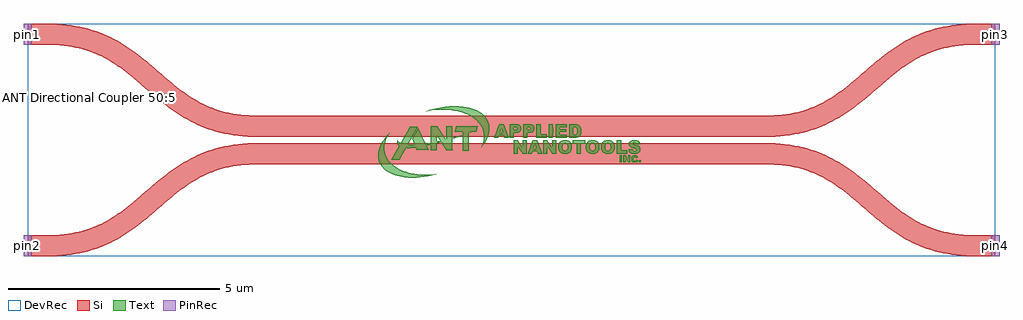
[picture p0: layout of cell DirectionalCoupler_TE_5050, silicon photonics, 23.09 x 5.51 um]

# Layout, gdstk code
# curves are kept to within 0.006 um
import gdstk
lib = gdstk.Library(unit=1e-6, precision=1e-09)
def R(c, l, rs):  # rectangles x0, y0, x1, y1
    for r in rs: c.add(gdstk.rectangle(r[:2], r[2:], *l))
def P(c, l, *ps):  # polygons
    for p in ps: c.add(gdstk.Polygon(p, *l))
Si = (1, 0)
PinRec = (1, 10)
Text = (10, 0)
DevRec = (68, 0)

directionalcoupler_te_50 = lib.new_cell('DirectionalCoupler_TE_5050')
P(directionalcoupler_te_50, Si, [(-11.45,-2.755),(-11.45,-2.255),(-10.895,-2.254),(-10.497,-2.22),(-10.15,-2.147),(-9.843,-2.041),(-9.568,-1.907),(-9.254,-1.706),(-9.016,-1.524),(-8.429,-1.021),(-8.177,-0.817),(-7.832,-0.575),(-7.603,-0.444),(-7.268,-0.293),(-7.085,-0.229),(-6.892,-0.176),(-6.582,-0.115),(-6.36,-0.09),(-6.125,-0.077),(6,-0.075),(6.238,-0.082),(6.466,-0.101),(6.786,-0.153),(6.984,-0.201),(7.172,-0.26),(7.517,-0.403),(7.752,-0.53),(8.038,-0.717),(8.235,-0.867),(8.952,-1.476),(9.187,-1.662),(9.37,-1.79),(9.562,-1.907),(9.837,-2.041),(10.144,-2.147),(10.491,-2.22),(10.889,-2.254),(11.444,-2.255),(11.444,-2.755),(10.875,-2.753),(10.528,-2.729),(10.208,-2.677),(9.915,-2.601),(9.732,-2.537),(9.477,-2.427),(9.242,-2.3),(9.025,-2.161),(8.695,-1.912),(7.866,-1.213),(7.624,-1.04),(7.432,-0.923),(7.157,-0.789),(6.85,-0.683),(6.594,-0.625),(6.311,-0.588),(5.994,-0.575),(-6.111,-0.576),(-6.509,-0.61),(-6.774,-0.662),(-7.089,-0.76),(-7.372,-0.887),(-7.63,-1.04),(-7.872,-1.213),(-8.639,-1.861),(-8.962,-2.113),(-9.325,-2.344),(-9.651,-2.502),(-9.828,-2.57),(-10.016,-2.629),(-10.214,-2.677),(-10.424,-2.715),(-10.646,-2.74),(-10.881,-2.753)],
  [(-6.006,0.075),(-6.244,0.082),(-6.472,0.101),(-6.792,0.153),(-6.99,0.201),(-7.178,0.26),(-7.523,0.403),(-7.832,0.575),(-8.111,0.767),(-8.367,0.969),(-9.016,1.524),(-9.254,1.706),(-9.568,1.907),(-9.843,2.041),(-10.15,2.147),(-10.497,2.22),(-10.895,2.254),(-11.45,2.255),(-11.45,2.755),(-10.881,2.753),(-10.646,2.74),(-10.424,2.715),(-10.214,2.677),(-10.016,2.629),(-9.738,2.537),(-9.483,2.427),(-9.325,2.344),(-8.962,2.113),(-8.639,1.861),(-7.872,1.213),(-7.63,1.04),(-7.372,0.887),(-7.163,0.789),(-7.014,0.732),(-6.689,0.642),(-6.317,0.588),(-6,0.575),(5.994,0.575),(6.409,0.598),(6.683,0.642),(7.008,0.732),(7.228,0.82),(7.497,0.961),(7.685,1.081),(7.925,1.259),(8.633,1.861),(8.956,2.113),(9.319,2.344),(9.645,2.502),(9.822,2.57),(10.01,2.629),(10.208,2.677),(10.418,2.715),(10.64,2.74),(10.875,2.753),(11.444,2.755),(11.444,2.255),(10.889,2.254),(10.491,2.22),(10.144,2.147),(9.986,2.098),(9.766,2.01),(9.628,1.943),(9.433,1.831),(9.187,1.662),(8.952,1.476),(8.235,0.867),(8.038,0.717),(7.752,0.53),(7.517,0.403),(7.172,0.26),(6.886,0.176),(6.576,0.115),(6.354,0.09),(6.077,0.075)])
R(directionalcoupler_te_50, Text, [(3.013,-0.53,3.061,-0.483)])
P(directionalcoupler_te_50, Text, [(-0.718,-0.177),(-0.676,-0.07),(-0.658,0.013),(-0.654,0.117),(-0.67,0.209),(-0.712,0.314),(-0.779,0.411),(-0.849,0.481),(-0.943,0.549),(-1.045,0.605),(-1.175,0.655),(-1.414,0.708),(-1.698,0.72),(-1.901,0.7),(-2.047,0.674),(-1.815,0.741),(-1.696,0.765),(-1.468,0.794),(-1.305,0.798),(-1.142,0.787),(-0.998,0.76),(-0.86,0.715),(-0.749,0.659),(-0.652,0.582),(-0.584,0.496),(-0.536,0.381),(-0.524,0.299),(-0.536,0.166),(-0.566,0.07),(-0.638,-0.069)],
  [(-0.413,0.058),(-0.327,0.288),(-0.244,0.288),(-0.278,0.177),(-0.21,0.177),(-0.244,0.288),(-0.327,0.288),(-0.296,0.37),(-0.191,0.37),(-0.073,0.058),(-0.174,0.058),(-0.189,0.109),(-0.299,0.109),(-0.314,0.058)],
  [(0.587,0.058),(0.587,0.37),(0.684,0.37),(0.684,0.136),(0.834,0.136),(0.834,0.058)],
  [(0.881,0.058),(0.881,0.37),(0.978,0.37),(0.979,0.214),(0.978,0.058)],
  [(1.047,0.058),(1.047,0.37),(1.306,0.37),(1.305,0.302),(1.145,0.303),(1.144,0.254),(1.294,0.254),(1.294,0.19),(1.144,0.19),(1.144,0.129),(1.31,0.129),(1.31,0.058)],
  [(1.363,0.058),(1.363,0.3),(1.46,0.3),(1.46,0.129),(1.531,0.138),(1.547,0.158),(1.554,0.192),(1.55,0.258),(1.535,0.285),(1.486,0.3),(1.363,0.3),(1.363,0.37),(1.537,0.369),(1.606,0.34),(1.635,0.3),(1.65,0.244),(1.648,0.169),(1.621,0.105),(1.591,0.078),(1.546,0.062)],
  [(-0.042,0.058),(-0.042,0.306),(0.082,0.306),(0.054,0.306),(0.054,0.237),(0.106,0.24),(0.129,0.263),(0.123,0.293),(0.1,0.305),(-0.042,0.306),(-0.042,0.37),(0.132,0.37),(0.188,0.353),(0.209,0.331),(0.223,0.284),(0.218,0.238),(0.201,0.206),(0.158,0.179),(0.055,0.173),(0.055,0.058)],
  [(0.272,0.058),(0.272,0.306),(0.397,0.306),(0.369,0.306),(0.369,0.237),(0.426,0.242),(0.444,0.264),(0.44,0.289),(0.42,0.304),(0.272,0.306),(0.272,0.37),(0.457,0.369),(0.51,0.347),(0.529,0.321),(0.538,0.28),(0.535,0.245),(0.516,0.206),(0.46,0.176),(0.369,0.173),(0.369,0.058)],
  [(-2.843,-0.472),(-2.66,-0.138),(-2.69,-0.106),(-2.705,-0.071),(-2.701,0),(-2.679,-0.034),(-2.626,-0.075),(-2.415,0.308),(-2.224,0.308),(-2.456,-0.114),(-2.376,-0.117),(-2.296,-0.114),(-2.349,0.027),(-2.208,0.28),(-2.036,-0.083),(-1.913,-0.062),(-1.913,0.106),(-1.767,0.106),(-1.767,-0.033),(-1.688,-0.015),(-1.767,0.106),(-1.913,0.106),(-1.913,0.329),(-1.764,0.329),(-1.562,0.015),(-1.547,0.019),(-1.547,0.329),(-1.401,0.329),(-1.401,0.058),(-1.151,0.129),(-1.151,0.191),(-1.348,0.192),(-0.984,0.192),(-1.018,0.192),(-1.018,0.17),(-0.95,0.189),(-1.348,0.192),(-1.305,0.325),(-0.797,0.325),(-0.827,0.232),(-0.814,0.236),(-0.831,0.221),(-0.84,0.191),(-0.932,0.19),(-1.018,0.159),(-1.018,-0.251),(-1.151,-0.251),(-1.151,0.113),(-1.4,0.03),(-1.397,-0.242),(-1.542,-0.242),(-1.665,-0.051),(-1.767,-0.08),(-1.767,-0.238),(-1.912,-0.238),(-1.913,-0.116),(-2.01,-0.138),(-1.964,-0.235),(-2.248,-0.238),(-2.27,-0.182),(-2.496,-0.188),(-2.653,-0.472)],
  [(-2.35,-0.89),(-2.593,-0.871),(-2.756,-0.833),(-2.834,-0.803),(-2.933,-0.752),(-3.015,-0.691),(-3.067,-0.636),(-3.117,-0.558),(-3.139,-0.506),(-3.159,-0.408),(-3.159,-0.327),(-3.135,-0.209),(-3.098,-0.116),(-3.031,-0.001),(-2.885,0.174),(-2.951,0.064),(-2.991,-0.036),(-3.009,-0.12),(-3.011,-0.237),(-2.997,-0.312),(-2.955,-0.418),(-2.903,-0.497),(-2.816,-0.587),(-2.718,-0.658),(-2.612,-0.714),(-2.383,-0.79),(-2.232,-0.815),(-2.079,-0.826),(-1.926,-0.823),(-1.774,-0.806),(-1.883,-0.836),(-2.068,-0.87)],
  [(1.912,-0.327),(1.841,-0.315),(1.787,-0.275),(1.758,-0.212),(1.755,-0.138),(1.773,-0.077),(1.916,-0.077),(1.886,-0.083),(1.862,-0.107),(1.853,-0.136),(1.854,-0.203),(1.867,-0.233),(1.891,-0.251),(1.926,-0.255),(1.951,-0.246),(1.97,-0.225),(1.98,-0.181),(1.978,-0.135),(1.961,-0.095),(1.923,-0.077),(1.774,-0.077),(1.802,-0.041),(1.85,-0.013),(1.953,-0.006),(2.015,-0.029),(2.054,-0.069),(2.071,-0.108),(2.077,-0.183),(2.064,-0.242),(2.029,-0.292),(1.976,-0.32)],
  [(1.249,-0.327),(1.187,-0.314),(1.135,-0.274),(1.107,-0.21),(1.104,-0.136),(1.122,-0.077),(1.265,-0.077),(1.24,-0.081),(1.214,-0.102),(1.2,-0.154),(1.202,-0.196),(1.215,-0.231),(1.233,-0.248),(1.273,-0.255),(1.301,-0.245),(1.321,-0.22),(1.329,-0.173),(1.324,-0.123),(1.308,-0.093),(1.272,-0.077),(1.122,-0.077),(1.144,-0.047),(1.184,-0.019),(1.224,-0.007),(1.302,-0.006),(1.365,-0.03),(1.402,-0.068),(1.422,-0.118),(1.424,-0.201),(1.406,-0.257),(1.37,-0.298),(1.324,-0.321)],
  [(2.262,-0.327),(2.185,-0.306),(2.14,-0.261),(2.118,-0.197),(2.12,-0.121),(2.136,-0.077),(2.277,-0.077),(2.245,-0.085),(2.225,-0.106),(2.215,-0.143),(2.216,-0.196),(2.225,-0.226),(2.244,-0.246),(2.271,-0.255),(2.308,-0.249),(2.33,-0.229),(2.341,-0.189),(2.341,-0.138),(2.326,-0.098),(2.287,-0.077),(2.136,-0.077),(2.17,-0.036),(2.213,-0.013),(2.259,-0.004),(2.33,-0.009),(2.387,-0.036),(2.421,-0.077),(2.439,-0.143),(2.434,-0.219),(2.414,-0.266),(2.375,-0.304),(2.329,-0.323)],
  [(2.891,-0.327),(2.838,-0.318),(2.804,-0.3),(2.78,-0.268),(2.766,-0.219),(2.858,-0.213),(2.873,-0.25),(2.903,-0.265),(2.947,-0.253),(2.953,-0.223),(2.931,-0.204),(2.841,-0.178),(2.8,-0.152),(2.78,-0.118),(2.779,-0.078),(2.795,-0.045),(2.83,-0.017),(2.89,-0.004),(2.959,-0.008),(3.016,-0.039),(3.038,-0.097),(2.948,-0.102),(2.932,-0.071),(2.907,-0.062),(2.876,-0.068),(2.867,-0.091),(2.886,-0.106),(3.008,-0.145),(3.041,-0.182),(3.048,-0.234),(3.03,-0.28),(3.002,-0.306),(2.964,-0.322)],
  [(0.753,-0.322),(0.753,-0.009),(0.843,-0.009),(0.96,-0.18),(0.96,-0.009),(1.051,-0.009),(1.051,-0.322),(0.96,-0.322),(0.844,-0.152),(0.844,-0.322)],
  [(0.431,-0.322),(0.381,-0.321),(0.467,-0.092),(0.551,-0.092),(0.516,-0.203),(0.584,-0.203),(0.551,-0.092),(0.467,-0.092),(0.498,-0.009),(0.604,-0.009),(0.722,-0.322),(0.62,-0.322),(0.605,-0.271),(0.496,-0.271),(0.48,-0.322)],
  [(0.056,-0.322),(0.056,-0.01),(0.147,-0.009),(0.263,-0.18),(0.263,-0.009),(0.354,-0.009),(0.355,-0.322),(0.263,-0.322),(0.148,-0.152),(0.148,-0.322)],
  [(1.542,-0.322),(1.542,-0.087),(1.445,-0.087),(1.445,-0.009),(1.737,-0.009),(1.737,-0.088),(1.64,-0.087),(1.64,-0.322)],
  [(2.491,-0.322),(2.491,-0.009),(2.588,-0.009),(2.588,-0.01),(2.589,-0.01),(2.589,-0.244),(2.739,-0.244),(2.739,-0.321),(2.738,-0.321),(2.738,-0.322)],
  [(2.9,-0.532),(2.867,-0.523),(2.846,-0.505),(2.83,-0.468),(2.83,-0.427),(2.84,-0.399),(2.863,-0.376),(2.887,-0.366),(2.936,-0.366),(2.967,-0.381),(2.988,-0.415),(2.943,-0.425),(2.939,-0.415),(2.924,-0.404),(2.898,-0.405),(2.883,-0.422),(2.879,-0.441),(2.885,-0.481),(2.902,-0.493),(2.921,-0.493),(2.937,-0.48),(2.944,-0.462),(2.989,-0.476),(2.975,-0.506),(2.957,-0.523),(2.939,-0.53)],
  [(2.559,-0.53),(2.559,-0.448),(2.56,-0.367),(2.56,-0.366),(2.61,-0.366),(2.61,-0.53)],
  [(2.647,-0.53),(2.647,-0.366),(2.695,-0.366),(2.755,-0.454),(2.755,-0.366),(2.803,-0.366),(2.803,-0.53),(2.755,-0.53),(2.695,-0.442),(2.695,-0.53)])
R(directionalcoupler_te_50, DevRec, [(-11.45,-2.755,11.444,2.755)])
directionalcoupler_te_50.add(gdstk.FlexPath([(-11.35,2.505),(-11.55,2.505)], 0.5, ends="flush", simple_path=True, layer=1, datatype=10))  # PinRec
directionalcoupler_te_50.add(gdstk.FlexPath([(-11.35,-2.505),(-11.55,-2.505)], 0.5, ends="flush", simple_path=True, layer=1, datatype=10))  # PinRec
directionalcoupler_te_50.add(gdstk.FlexPath([(11.544,2.505),(11.344,2.505)], 0.5, ends="flush", simple_path=True, layer=1, datatype=10))  # PinRec
directionalcoupler_te_50.add(gdstk.FlexPath([(11.544,-2.505),(11.344,-2.505)], 0.5, ends="flush", simple_path=True, layer=1, datatype=10))  # PinRec
directionalcoupler_te_50.add(gdstk.Label('ANT Directional Coupler 50:50 v1', (-10.01,1), layer=10, texttype=0))
directionalcoupler_te_50.add(gdstk.Label('pin1', (-11.45,2.505), layer=1, texttype=10))
directionalcoupler_te_50.add(gdstk.Label('pin3', (11.444,2.505), layer=1, texttype=10))
directionalcoupler_te_50.add(gdstk.Label('pin2', (-11.45,-2.505), layer=1, texttype=10))
directionalcoupler_te_50.add(gdstk.Label('pin4', (11.444,-2.505), layer=1, texttype=10))
directionalcoupler_te_50.add(gdstk.Label('Port1', (-11.4,2.775), layer=290, texttype=0))
directionalcoupler_te_50.add(gdstk.Label('Port3', (11.394,2.775), layer=290, texttype=0))
directionalcoupler_te_50.add(gdstk.Label('Port2', (-11.394,-2.195), layer=290, texttype=0))
directionalcoupler_te_50.add(gdstk.Label('Port4', (11.394,-2.195), layer=290, texttype=0))

lib.write_gds('DirectionalCoupler_TE_5050.gds')
